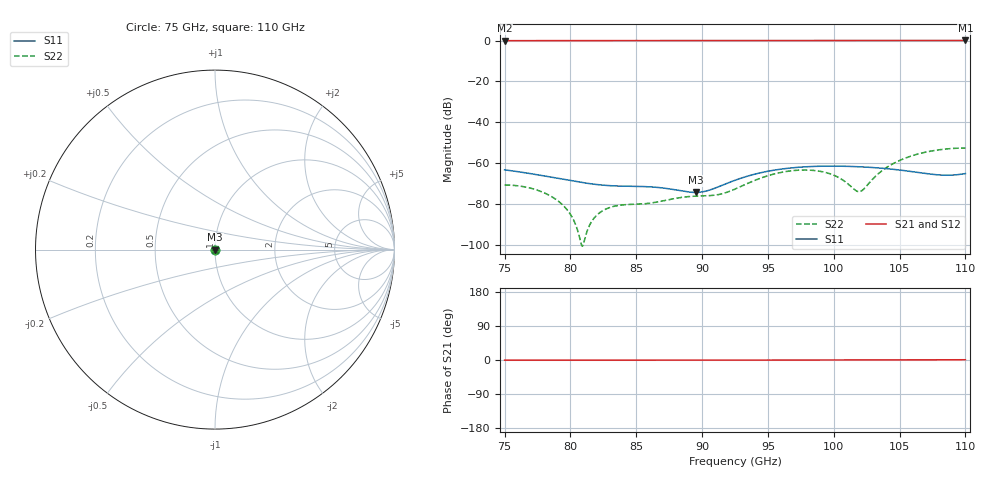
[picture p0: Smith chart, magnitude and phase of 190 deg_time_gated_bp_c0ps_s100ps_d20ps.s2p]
# Hz S RI R 50.000000
! Metas.Vna.Tools, 2.4.7724.19584
! Metas.Vna.Data, 2.4.7724.19560
! Created: UTC 2021.04.29 12:40:11
! FREQ  re:S1,1  im:S1,1  re:S2,1  im:S2,1  re:S1,2  im:S1,2  re:S2,2  im:S2,2
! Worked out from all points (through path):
!   1401 points, 75 GHz to 110 GHz, reference 50 ohm
!   highest |S21| = 0.03 dB at 110 GHz (marker M1); lowest = -0.1 dB at 75 GHz (marker M2)
!   lowest |S11| = -74.4 dB at 89.5 GHz (marker M3), VSWR 1.00, Z = 50 + j0.00804 ohm
!   |S11| at or under -10 dB: start of sweep to end of sweep
!   |S22| runs from -100.8 to -52.7 dB; largest |S21 - S12| = 0.064
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7.5e10  2.42e-05 -0.000678  0.9929 -0.00932  0.9935 -0.0098  -0.000241 0.000159
7.7375e10  -0.000145 -0.000501  0.9932 -0.00944  0.9938 -0.00995  -0.000185 0.000122
7.8325e10  -0.000208 -0.000413  0.9934 -0.00954  0.9941 -0.0101  -0.000138 9.16e-05
7.94e10  -0.000264 -0.000302  0.9937 -0.00968  0.9945 -0.0103  -7.95e-05 5.09e-05
8.085e10  -0.000301 -0.000143  0.9943 -0.00988  0.9952 -0.0108  -8.09e-06 -5.08e-06
8.5525e10  -0.00011 0.000241  0.9969 -0.0101  0.9984 -0.0136  -3.21e-06 -9.96e-05
8.6675e10  -2.01e-05 0.00025  0.9976 -0.00996  0.9992 -0.0148  -4.45e-05 -0.000103
8.95e10  0.000172 8.03e-05  0.9993 -0.0089  1.001 -0.0183  -9.22e-05 -0.000123
9.12e10  0.000224 -0.000127  1 -0.00776  1.003 -0.021  -2.58e-05 -0.000165
9.25e10  0.000217 -0.000308  1.001 -0.00664  1.003 -0.0234  8.3e-05 -0.000214
9.5575e10  3.81e-05 -0.000675  1.002 -0.00316  1.005 -0.0296  0.00044 -0.000326
9.7e10  -0.000104 -0.000762  1.003 -0.00125  1.006 -0.0327  0.000564 -0.000332
9.835e10  -0.000253 -0.000781  1.003 0.000659  1.006 -0.0357  0.000598 -0.000284
1.001e11  -0.000438 -0.000714  1.003 0.00318  1.006 -0.0395  0.00047 -0.000124
1.01925e11  -0.000585 -0.000558  1.004 0.00572  1.007 -0.0432  0.000115 0.000161
1.02225e11  -0.000602 -0.000526  1.004 0.00612  1.007 -0.0437  3.72e-05 0.000218
1.03275e11  -0.000643 -0.000407  1.004 0.00744  1.007 -0.0456  -0.000268 0.000431
1.04175e11  -0.000654 -0.000296  1.004 0.00848  1.007 -0.047  -0.000557 0.000624
1.0535e11  -0.000634 -0.000148  1.004 0.00966  1.007 -0.0487  -0.000942 0.000873
1.0675e11  -0.000565 3.25e-05  1.004 0.0108  1.007 -0.0502  -0.00136 0.00114
1.085e11  -0.000428 0.000261  1.004 0.0116  1.007 -0.0514  -0.00172 0.00136
1.1e11  -0.000297 0.000464  1.004 0.0119  1.007 -0.0517  -0.00183 0.00143
